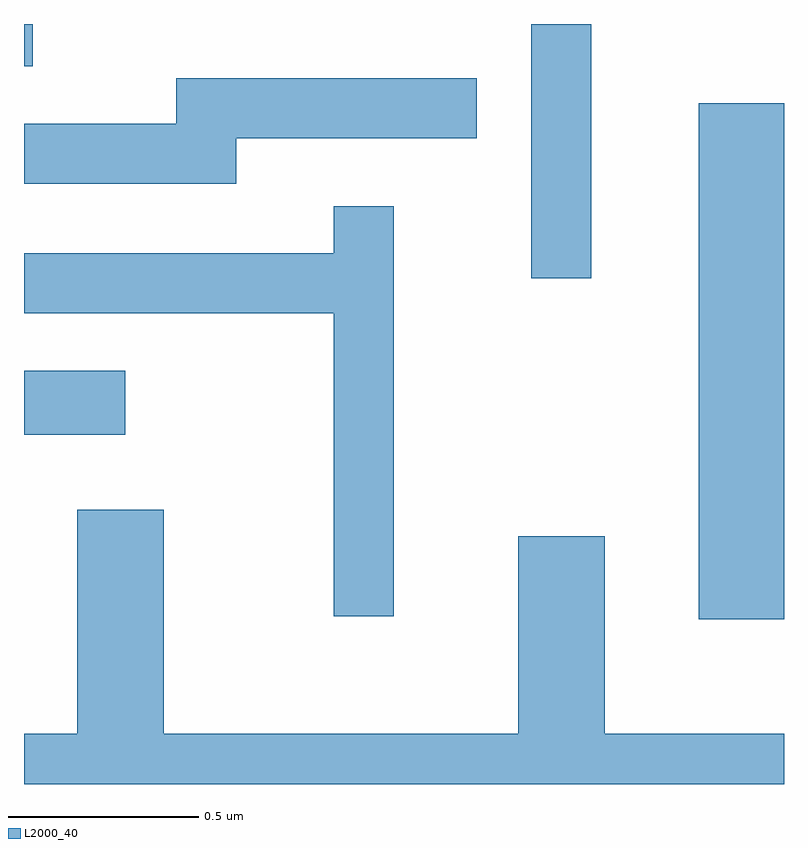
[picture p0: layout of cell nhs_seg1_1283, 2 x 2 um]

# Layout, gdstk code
import gdstk
lib = gdstk.Library(unit=1e-6, precision=1e-09)
def R(c, l, rs):  # rectangles x0, y0, x1, y1
    for r in rs: c.add(gdstk.rectangle(r[:2], r[2:], *l))
def P(c, l, *ps):  # polygons
    for p in ps: c.add(gdstk.Polygon(p, *l))
L2000_40 = (2000, 40)

nhs_seg1_1283 = lib.new_cell('nhs_seg1_1283')
R(nhs_seg1_1283, L2000_40, [(196.386,900.146,196.611,901.504), (194.611,900.631,194.878,900.799), (195.946,901.043,196.104,901.712), (194.611,901.601,194.634,901.712)])
P(nhs_seg1_1283, L2000_40, [(195.169,901.411),(195.803,901.411),(195.803,901.569),(195.011,901.569),(195.011,901.449),(194.611,901.449),(194.611,901.291),(195.169,901.291)],
  [(195.584,901.233),(195.426,901.233),(195.426,901.109),(194.611,901.109),(194.611,900.951),(195.426,900.951),(195.426,900.153),(195.584,900.153)],
  [(196.611,899.844),(196.139,899.844),(196.139,900.364),(195.911,900.364),(195.911,899.844),(194.979,899.844),(194.979,900.434),(194.751,900.434),(194.751,899.844),(194.611,899.844),(194.611,899.712),(196.611,899.712)])

lib.write_gds('nhs_seg1_1283.gds')
